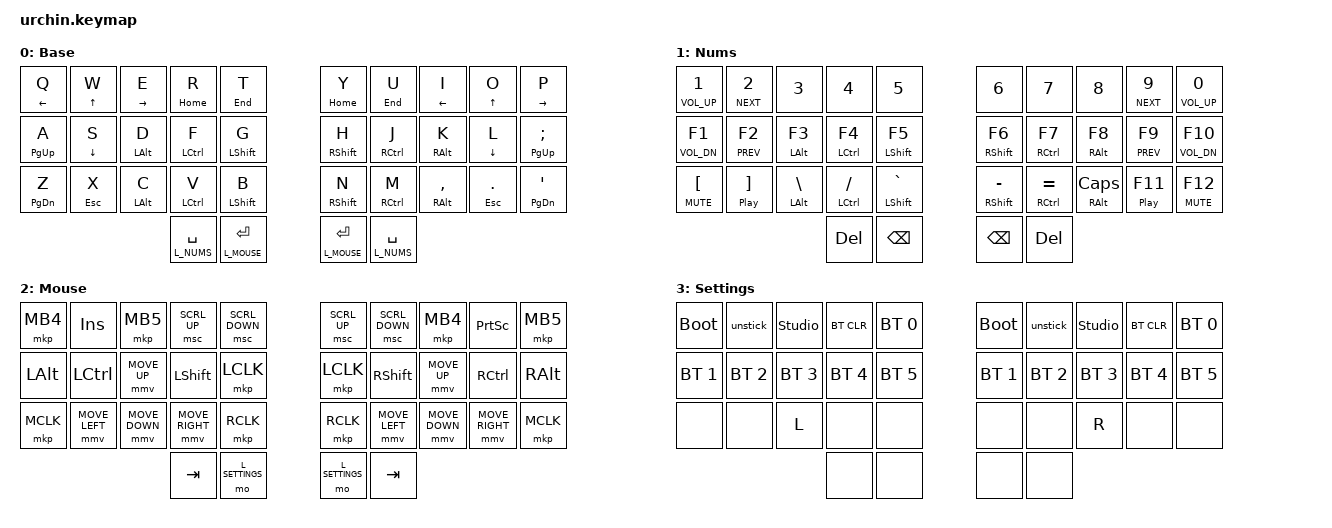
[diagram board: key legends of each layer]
/*
 * Copyright (c) 2020 duckyb
 *
 * SPDX-License-Identifier: MIT
 */

#include <behaviors.dtsi>
#include <dt-bindings/zmk/keys.h>
#include <dt-bindings/zmk/bt.h>
#include <dt-bindings/zmk/outputs.h>

#define ZMK_POINTING_DEFAULT_MOVE_VAL 600
#define ZMK_POINTING_DEFAULT_SCRL_VAL 10
#include <dt-bindings/zmk/pointing.h>

// Layer definitions
#define L_BASE 0
#define L_NUMS 1
#define L_MOUSE 2
#define L_SETTINGS 3

&mmv {
	x-input-code = <INPUT_REL_X>;
	y-input-code = <INPUT_REL_Y>;
	time-to-max-speed-ms = <300>;
	// The acceleration exponent to apply: 0 - uniform speed, 1 - uniform acceleration, 2 - linear acceleration
	acceleration-exponent = <1>;
};

&msc {
	x-input-code = <INPUT_REL_HWHEEL>;
	y-input-code = <INPUT_REL_WHEEL>;
	time-to-max-speed-ms = <300>;
	// The acceleration exponent to apply: 0 - uniform speed, 1 - uniform acceleration, 2 - linear acceleration
	acceleration-exponent = <0>;
};

&sk {
	// don't release mods on other mods presses
	ignore-modifiers;
};

/ {
	behaviors {
		// Enables holding the first mod-tap key
		// by performing a tap-release-hold sequence.
		// To use it: "&qt KEYCODE1 KEYCODE2"
		qt: quick_tap {
			compatible = "zmk,behavior-hold-tap";
			label = "QUICK_TAP";
			#binding-cells = <2>;
			flavor = "hold-preferred";
			tapping-term-ms = <200>;
			quick-tap-ms = <200>;
			bindings = <&kp>, <&kp>;
		};
	};

	macros {
		// sometimes my device thinks a modifier is being held down
		// pressing all modifiers fixes it.
		unstick: unstick {
			label = "ZM_unstick";
			compatible = "zmk,behavior-macro";
			#binding-cells = <0>;
			bindings = <&kp LSHIFT &kp RSHIFT &kp LCTRL &kp RCTRL &kp LALT &kp RALT &kp LGUI &kp RGUI>;
		};
	};

	keymap {
		compatible = "zmk,keymap";
		default_layer {
			label = "Base";
			bindings = <
			&mt LEFT Q &mt UP W &mt RIGHT E &mt HOME R &mt END T    &mt HOME Y &mt END U &mt LEFT I &mt UP O &mt RIGHT P
			&mt PG_UP A &mt DOWN S &mt LALT D &mt LCTRL F &mt LSHIFT G    &mt RSHIFT H &mt RCTRL J &mt RALT K &mt DOWN L &mt PG_UP SEMI
			&mt PG_DN Z &mt ESC X &mt LALT C &mt LCTRL V &mt LSHIFT B    &mt RSHIFT N &mt RCTRL M &mt RALT COMMA &mt ESC DOT &mt PG_DN SQT
			&lt L_NUMS SPACE &lt L_MOUSE RET    &lt L_MOUSE RET &lt L_NUMS SPACE
			>;
		};
		nums_layer {
			label = "Nums";
			bindings = <
			&mt C_VOL_UP N1 &mt C_NEXT N2 &kp N3 &kp N4 &kp N5    &kp N6 &kp N7 &kp N8 &mt C_NEXT N9 &mt C_VOL_UP N0
			&mt C_VOL_DN F1 &mt C_PREV F2 &mt LALT F3 &mt LCTRL F4 &mt LSHIFT F5    &mt RSHIFT F6 &mt RCTRL F7 &mt RALT F8 &mt C_PREV F9 &mt C_VOL_DN F10
			&mt C_MUTE LBKT &mt C_PP RBKT &mt LALT BSLH &mt LCTRL FSLH &mt LSHIFT GRAVE    &mt RSHIFT MINUS &mt RCTRL EQUAL &mt RALT CAPS &mt C_PP F11 &mt C_MUTE F12
			&kp DEL &kp BSPC    &kp BSPC &kp DEL
			>;
		};
		mouse_layer {
			label = "Mouse";
			bindings = <
			&mkp MB4 &kp INS &mkp MB5 &msc SCRL_UP &msc SCRL_DOWN    &msc SCRL_UP &msc SCRL_DOWN &mkp MB4 &kp PSCRN &mkp MB5
			&kp LALT &kp LCTRL &mmv MOVE_UP &kp LSHIFT &mkp LCLK    &mkp LCLK &kp RSHIFT &mmv MOVE_UP &kp RCTRL &kp RALT
			&mkp MCLK &mmv MOVE_LEFT &mmv MOVE_DOWN &mmv MOVE_RIGHT &mkp RCLK    &mkp RCLK &mmv MOVE_LEFT &mmv MOVE_DOWN &mmv MOVE_RIGHT &mkp MCLK
			&kp TAB &mo L_SETTINGS    &mo L_SETTINGS &kp TAB
			>;
		};
		settings_layer {
			label = "Settings";
			bindings = <
			&bootloader &unstick &studio_unlock &bt BT_CLR &bt BT_SEL 0    &bootloader &unstick &studio_unlock &bt BT_CLR &bt BT_SEL 0
			&bt BT_SEL 1 &bt BT_SEL 2 &bt BT_SEL 3 &bt BT_SEL 4 &bt BT_SEL 5    &bt BT_SEL 1 &bt BT_SEL 2 &bt BT_SEL 3 &bt BT_SEL 4 &bt BT_SEL 5
			&none &none &kp L &none &none    &none &none &kp R &none &none
			&none &none    &none &none
			>;
		};
	};
};
